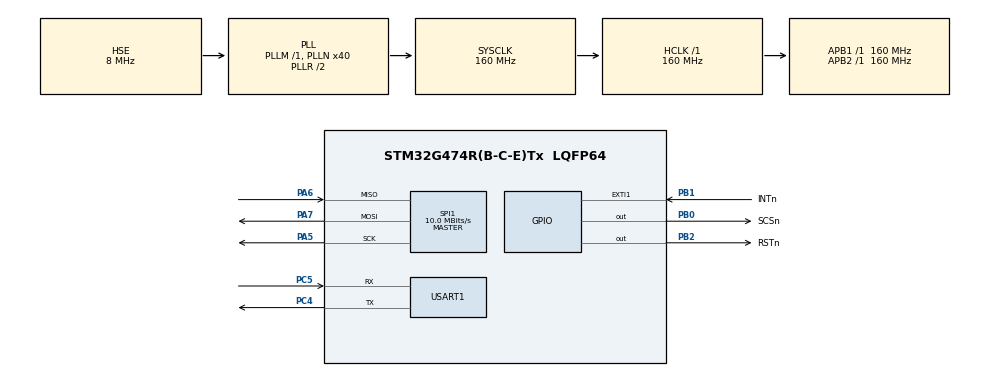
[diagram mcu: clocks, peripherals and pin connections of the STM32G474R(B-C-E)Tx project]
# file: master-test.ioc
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Mcu.Family=STM32G4
Mcu.Name=STM32G474R(B-C-E)Tx
Mcu.Package=LQFP64
NVIC.EXTI1_IRQn=true\:0\:0\:false\:false\:true\:true\:true\:true
NVIC.PriorityGroup=NVIC_PRIORITYGROUP_4
NVIC.TIM3_IRQn=true\:0\:0\:false\:false\:true\:true\:true\:true
NVIC.TIM4_IRQn=true\:0\:0\:false\:false\:true\:true\:true\:true
NVIC.USART1_IRQn=true\:0\:0\:false\:false\:true\:true\:true\:true
PA5.Mode=Full_Duplex_Master
PA5.Signal=SPI1_SCK
PA6.Mode=Full_Duplex_Master
PA6.Signal=SPI1_MISO
PA7.Mode=Full_Duplex_Master
PA7.Signal=SPI1_MOSI
PB0.GPIO_Label=SCSn
PB0.Signal=GPIO_Output
PB1.GPIO_Label=INTn
PB1.GPIO_ModeDefaultEXTI=GPIO_MODE_IT_FALLING
PB1.GPIO_PuPd=GPIO_PULLUP
PB1.Signal=GPXTI1
PB2.GPIO_Label=RSTn
PB2.GPIO_PuPd=GPIO_PULLUP
PB2.Signal=GPIO_Output
PC4.Mode=Asynchronous
PC4.Signal=USART1_TX
PC5.Mode=Asynchronous
PC5.Signal=USART1_RX
PF0-OSC_IN.Mode=HSE-External-Oscillator
PF0-OSC_IN.Signal=RCC_OSC_IN
PF1-OSC_OUT.Mode=HSE-External-Oscillator
PF1-OSC_OUT.Signal=RCC_OSC_OUT
ProjectManager.HeapSize=0x200
ProjectManager.StackSize=0x400
ProjectManager.TargetToolchain=MDK-ARM V5
RCC.ADC12Freq_Value=160000000
RCC.ADC345Freq_Value=160000000
RCC.AHBFreq_Value=160000000
RCC.APB1Freq_Value=160000000
RCC.APB1TimFreq_Value=160000000
RCC.APB2Freq_Value=160000000
RCC.APB2TimFreq_Value=160000000
RCC.CortexFreq_Value=160000000
RCC.EXTERNAL_CLOCK_VALUE=12288000
RCC.HCLKFreq_Value=160000000
RCC.HSE_VALUE=8000000
RCC.HSI48_VALUE=48000000
RCC.HSI_VALUE=16000000
RCC.LSE_VALUE=32768
RCC.PLLN=40
RCC.PLLSourceVirtual=RCC_PLLSOURCE_HSE
RCC.SYSCLKFreq_VALUE=160000000
RCC.SYSCLKSource=RCC_SYSCLKSOURCE_PLLCLK
RCC.USBFreq_Value=160000000
RCC.VCOOutputFreq_Value=320000000
SPI1.BaudRatePrescaler=SPI_BAUDRATEPRESCALER_16
SPI1.CLKPhase=SPI_PHASE_2EDGE
SPI1.CLKPolarity=SPI_POLARITY_HIGH
SPI1.CalculateBaudRate=10.0 MBits/s
SPI1.DataSize=SPI_DATASIZE_8BIT
SPI1.Direction=SPI_DIRECTION_2LINES
SPI1.Mode=SPI_MODE_MASTER
SPI1.VirtualType=VM_MASTER
TIM3.PeriodNoDither=999
TIM3.Prescaler=160-1
TIM4.PeriodNoDither=9999
TIM4.Prescaler=16000-1
USART1.VirtualMode-Asynchronous=VM_ASYNC
VP_SYS_VS_DBSignals.Mode=DisableDeadBatterySignals
VP_TIM3_VS_ClockSourceINT.Mode=Internal
VP_TIM4_VS_ClockSourceINT.Mode=Internal
board=custom

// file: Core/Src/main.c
/* USER CODE BEGIN Header */
/**
  ******************************************************************************
  * @file           : main.c
  * @brief          : Main program body
  ******************************************************************************
  * @attention
  *
  * Copyright (c) 2022 STMicroelectronics.
  * All rights reserved.
  *
  * This software is licensed under terms that can be found in the LICENSE file
  * in the root directory of this software component.
  * If no LICENSE file comes with this software, it is provided AS-IS.
  *
  ******************************************************************************
  */
/* USER CODE END Header */
#include "main.h"

/* USER CODE BEGIN Includes */
#include <stdint.h>
#include <string.h>
#include <time.h>
#include "stdio.h"
#include "wizchip_conf.h"
#include "snmp.h"
#include "httpServer.h"
/* USER CODE END Includes */

/* USER CODE BEGIN PTD */
#define fractionOfSecond TIM4->CNT
/* USER CODE END PTD */

SPI_HandleTypeDef hspi1;

TIM_HandleTypeDef htim3;
TIM_HandleTypeDef htim4;

UART_HandleTypeDef huart1;

/* USER CODE BEGIN PV */
wiz_NetInfo myipWIZNETINFO = { .mac = {0x00, 0x08, 0xDC, 0x55, 0x00, 0x2E},
															 .ip = {192, 168,22, 165},
															 .sn = {255,255,255,0},
															 .gw = {0, 0, 0, 0},
															 .dns = {8,8,8,8},
															 .dhcp = NETINFO_STATIC };
time_t built_time,timenow = 1657166407;
struct tm* timeinfo;
//SNMP
int8_t lostSignal = 0;
int8_t timeOutLostSignal = 30;
uint8_t gps1_stt = 0;
uint8_t gps2_stt = 0;
uint8_t power1_stt = 0;
uint8_t power2_stt = 0;
 uint8_t days;
 uint8_t months;
 uint8_t years;
 uint8_t hours;
 uint8_t minutes;
 uint8_t seconds;
//#define RXBUFFERSIZE 20
uint8_t aRxBuffer[RXBUFFERSIZE];
/* USER CODE END PV */

void SystemClock_Config(void);
static void MX_GPIO_Init(void);
static void MX_SPI1_Init(void);
static void MX_TIM4_Init(void);
static void MX_USART1_UART_Init(void);
static void MX_TIM3_Init(void);

int main(void)
{
  /* USER CODE BEGIN 1 */
  int32_t ret = 0;
  /* USER CODE END 1 */

  /* MCU Configuration--------------------------------------------------------*/

  /* Reset of all peripherals, Initializes the Flash interface and the Systick. */
  HAL_Init();

  /* Configure the system clock */
  SystemClock_Config();

  /* Initialize all configured peripherals */
  MX_GPIO_Init();
  MX_SPI1_Init();
  MX_TIM4_Init();
  MX_USART1_UART_Init();
  MX_TIM3_Init();
  /* USER CODE BEGIN 2 */
	printf("This code gen by STMcube; STM32G474RBT6@160MHz\r\n");
	built_time = timenow;
	stm32g474_FactoryLoad();
	w5500_lib_init();
	ntpserverdefaultconfig();
	timeinfo = localtime( &timenow );
	snmp_init();
	fractionOfSecond = 0;

	timeinfo = localtime( &timenow );
	//printf("Current local time and date: %s\r\n", asctime(timeinfo));
	//printf("HH-MM-SS :%d-%d-%d\r\n",timeinfo->tm_hour,timeinfo->tm_min,timeinfo->tm_sec);
	//printf("DD-MM-YY :%d-%d-%d\r\n",timeinfo->tm_mday,1+timeinfo->tm_mon,timeinfo->tm_year-100);

	days = timeinfo->tm_mday;
  months = 1+timeinfo->tm_mon;
  years = timeinfo->tm_year-100;
  hours = timeinfo->tm_hour;
  minutes = timeinfo->tm_min;
  seconds = timeinfo->tm_sec;

	loadwebpages();

  /* USER CODE END 2 */

  /* Infinite loop */
  /* USER CODE BEGIN WHILE */
	HAL_TIM_Base_Start_IT(&htim3);
	HAL_TIM_Base_Start(&htim4);

//  printf("IP: %d.%d.%d.%d\r\n",myMem->ip[0],myMem->ip[1],myMem->ip[2],myMem->ip[3]);
//	printf("SN: %d.%d.%d.%d\r\n",myMem->sn[0],myMem->sn[1],myMem->sn[2],myMem->sn[3]);
//	printf("GW: %d.%d.%d.%d\r\n",myMem->gw[0],myMem->gw[1],myMem->gw[2],myMem->gw[3]);
//	printf("DNS: %d.%d.%d.%d\r\n",myMem->dns[0],myMem->dns[1],myMem->dns[2],myMem->dns[3]);
//  printf("keyword: %x\r\n",myMem->keyword);
	HAL_UART_Abort(&huart1);
	if (HAL_UART_Receive_IT(&huart1, (uint8_t *)aRxBuffer, RXBUFFERSIZE) != HAL_OK)
  {
    /* Transfer error in reception process */
    Error_Handler();
  }
  while (1)
  {
    /* USER CODE END WHILE */

    /* USER CODE BEGIN 3 */
		machGiaoTiep();
  }
  /* USER CODE END 3 */
}

void SystemClock_Config(void)
{
  RCC_OscInitTypeDef RCC_OscInitStruct = {0};
  RCC_ClkInitTypeDef RCC_ClkInitStruct = {0};

  /** Configure the main internal regulator output voltage
  */
  HAL_PWREx_ControlVoltageScaling(PWR_REGULATOR_VOLTAGE_SCALE1_BOOST);

  /** Initializes the RCC Oscillators according to the specified parameters
  * in the RCC_OscInitTypeDef structure.
  */
  RCC_OscInitStruct.OscillatorType = RCC_OSCILLATORTYPE_HSE;
  RCC_OscInitStruct.HSEState = RCC_HSE_ON;
  RCC_OscInitStruct.PLL.PLLState = RCC_PLL_ON;
  RCC_OscInitStruct.PLL.PLLSource = RCC_PLLSOURCE_HSE;
  RCC_OscInitStruct.PLL.PLLM = RCC_PLLM_DIV1;
  RCC_OscInitStruct.PLL.PLLN = 40;
  RCC_OscInitStruct.PLL.PLLP = RCC_PLLP_DIV2;
  RCC_OscInitStruct.PLL.PLLQ = RCC_PLLQ_DIV2;
  RCC_OscInitStruct.PLL.PLLR = RCC_PLLR_DIV2;
  if (HAL_RCC_OscConfig(&RCC_OscInitStruct) != HAL_OK)
  {
    Error_Handler();
  }

  /** Initializes the CPU, AHB and APB buses clocks
  */
  RCC_ClkInitStruct.ClockType = RCC_CLOCKTYPE_HCLK|RCC_CLOCKTYPE_SYSCLK
                              |RCC_CLOCKTYPE_PCLK1|RCC_CLOCKTYPE_PCLK2;
  RCC_ClkInitStruct.SYSCLKSource = RCC_SYSCLKSOURCE_PLLCLK;
  RCC_ClkInitStruct.AHBCLKDivider = RCC_SYSCLK_DIV1;
  RCC_ClkInitStruct.APB1CLKDivider = RCC_HCLK_DIV1;
  RCC_ClkInitStruct.APB2CLKDivider = RCC_HCLK_DIV1;

  if (HAL_RCC_ClockConfig(&RCC_ClkInitStruct, FLASH_LATENCY_4) != HAL_OK)
  {
    Error_Handler();
  }
}

static void MX_SPI1_Init(void)
{

  /* SPI1 parameter configuration*/
  hspi1.Instance = SPI1;
  hspi1.Init.Mode = SPI_MODE_MASTER;
  hspi1.Init.Direction = SPI_DIRECTION_2LINES;
  hspi1.Init.DataSize = SPI_DATASIZE_8BIT;
  hspi1.Init.CLKPolarity = SPI_POLARITY_HIGH;
  hspi1.Init.CLKPhase = SPI_PHASE_2EDGE;
  hspi1.Init.NSS = SPI_NSS_SOFT;
  hspi1.Init.BaudRatePrescaler = SPI_BAUDRATEPRESCALER_16;
  hspi1.Init.FirstBit = SPI_FIRSTBIT_MSB;
  hspi1.Init.TIMode = SPI_TIMODE_DISABLE;
  hspi1.Init.CRCCalculation = SPI_CRCCALCULATION_DISABLE;
  hspi1.Init.CRCPolynomial = 7;
  hspi1.Init.CRCLength = SPI_CRC_LENGTH_DATASIZE;
  hspi1.Init.NSSPMode = SPI_NSS_PULSE_DISABLE;
  if (HAL_SPI_Init(&hspi1) != HAL_OK)
  {
    Error_Handler();
  }

}

static void MX_TIM3_Init(void)
{

  TIM_ClockConfigTypeDef sClockSourceConfig = {0};
  TIM_MasterConfigTypeDef sMasterConfig = {0};

  htim3.Instance = TIM3;
  htim3.Init.Prescaler = 160-1;
  htim3.Init.CounterMode = TIM_COUNTERMODE_UP;
  htim3.Init.Period = 999;
  htim3.Init.ClockDivision = TIM_CLOCKDIVISION_DIV1;
  htim3.Init.AutoReloadPreload = TIM_AUTORELOAD_PRELOAD_DISABLE;
  if (HAL_TIM_Base_Init(&htim3) != HAL_OK)
  {
    Error_Handler();
  }
  sClockSourceConfig.ClockSource = TIM_CLOCKSOURCE_INTERNAL;
  if (HAL_TIM_ConfigClockSource(&htim3, &sClockSourceConfig) != HAL_OK)
  {
    Error_Handler();
  }
  sMasterConfig.MasterOutputTrigger = TIM_TRGO_RESET;
  sMasterConfig.MasterSlaveMode = TIM_MASTERSLAVEMODE_DISABLE;
  if (HAL_TIMEx_MasterConfigSynchronization(&htim3, &sMasterConfig) != HAL_OK)
  {
    Error_Handler();
  }

}

static void MX_TIM4_Init(void)
{

  TIM_ClockConfigTypeDef sClockSourceConfig = {0};
  TIM_MasterConfigTypeDef sMasterConfig = {0};

  htim4.Instance = TIM4;
  htim4.Init.Prescaler = 16000-1;
  htim4.Init.CounterMode = TIM_COUNTERMODE_UP;
  htim4.Init.Period = 9999;
  htim4.Init.ClockDivision = TIM_CLOCKDIVISION_DIV1;
  htim4.Init.AutoReloadPreload = TIM_AUTORELOAD_PRELOAD_DISABLE;
  if (HAL_TIM_Base_Init(&htim4) != HAL_OK)
  {
    Error_Handler();
  }
  sClockSourceConfig.ClockSource = TIM_CLOCKSOURCE_INTERNAL;
  if (HAL_TIM_ConfigClockSource(&htim4, &sClockSourceConfig) != HAL_OK)
  {
    Error_Handler();
  }
  sMasterConfig.MasterOutputTrigger = TIM_TRGO_RESET;
  sMasterConfig.MasterSlaveMode = TIM_MASTERSLAVEMODE_DISABLE;
  if (HAL_TIMEx_MasterConfigSynchronization(&htim4, &sMasterConfig) != HAL_OK)
  {
    Error_Handler();
  }

}

static void MX_USART1_UART_Init(void)
{

  huart1.Instance = USART1;
  huart1.Init.BaudRate = 115200;
  huart1.Init.WordLength = UART_WORDLENGTH_8B;
  huart1.Init.StopBits = UART_STOPBITS_1;
  huart1.Init.Parity = UART_PARITY_NONE;
  huart1.Init.Mode = UART_MODE_TX_RX;
  huart1.Init.HwFlowCtl = UART_HWCONTROL_NONE;
  huart1.Init.OverSampling = UART_OVERSAMPLING_16;
  huart1.Init.OneBitSampling = UART_ONE_BIT_SAMPLE_DISABLE;
  huart1.Init.ClockPrescaler = UART_PRESCALER_DIV1;
  huart1.AdvancedInit.AdvFeatureInit = UART_ADVFEATURE_NO_INIT;
  if (HAL_UART_Init(&huart1) != HAL_OK)
  {
    Error_Handler();
  }
  if (HAL_UARTEx_SetTxFifoThreshold(&huart1, UART_TXFIFO_THRESHOLD_1_8) != HAL_OK)
  {
    Error_Handler();
  }
  if (HAL_UARTEx_SetRxFifoThreshold(&huart1, UART_RXFIFO_THRESHOLD_1_8) != HAL_OK)
  {
    Error_Handler();
  }
  if (HAL_UARTEx_DisableFifoMode(&huart1) != HAL_OK)
  {
    Error_Handler();
  }

}

static void MX_GPIO_Init(void)
{
  GPIO_InitTypeDef GPIO_InitStruct = {0};

  /* GPIO Ports Clock Enable */
  __HAL_RCC_GPIOF_CLK_ENABLE();
  __HAL_RCC_GPIOA_CLK_ENABLE();
  __HAL_RCC_GPIOC_CLK_ENABLE();
  __HAL_RCC_GPIOB_CLK_ENABLE();

  /*Configure GPIO pin Output Level */
  HAL_GPIO_WritePin(GPIOB, SCSn_Pin|RSTn_Pin, GPIO_PIN_RESET);

  /*Configure GPIO pin : SCSn_Pin */
  GPIO_InitStruct.Pin = SCSn_Pin;
  GPIO_InitStruct.Mode = GPIO_MODE_OUTPUT_PP;
  GPIO_InitStruct.Pull = GPIO_NOPULL;
  GPIO_InitStruct.Speed = GPIO_SPEED_FREQ_LOW;
  HAL_GPIO_Init(SCSn_GPIO_Port, &GPIO_InitStruct);

  /*Configure GPIO pin : INTn_Pin */
  GPIO_InitStruct.Pin = INTn_Pin;
  GPIO_InitStruct.Mode = GPIO_MODE_IT_FALLING;
  GPIO_InitStruct.Pull = GPIO_PULLUP;
  HAL_GPIO_Init(INTn_GPIO_Port, &GPIO_InitStruct);

  /*Configure GPIO pin : RSTn_Pin */
  GPIO_InitStruct.Pin = RSTn_Pin;
  GPIO_InitStruct.Mode = GPIO_MODE_OUTPUT_PP;
  GPIO_InitStruct.Pull = GPIO_PULLUP;
  GPIO_InitStruct.Speed = GPIO_SPEED_FREQ_LOW;
  HAL_GPIO_Init(RSTn_GPIO_Port, &GPIO_InitStruct);

  /* EXTI interrupt init*/
  HAL_NVIC_SetPriority(EXTI1_IRQn, 0, 0);
  HAL_NVIC_EnableIRQ(EXTI1_IRQn);

}

/* USER CODE BEGIN 4 */

void HAL_GPIO_EXTI_Callback(uint16_t GPIO_Pin)
{

	if (GPIO_Pin == INTn_Pin)
  {
		//Nhan duoc ban tin NTP, xu ly thoi gian va phan hoi
		//Receied NTP message, processing and respond
		INT_NTP();
		//printf("NTP\r\n");
  }

}
#ifdef __GNUC__
  /* With GCC/RAISONANCE, small printf (option LD Linker->Libraries->Small printf
     set to 'Yes') calls __io_putchar() */
  #define PUTCHAR_PROTOTYPE int __io_putchar(int ch)
#else
  #define PUTCHAR_PROTOTYPE int fputc(int ch, FILE *f)
#endif /* __GNUC__ */

/**
  * @brief  Retargets the C library printf function to the USART.
  * @param  None
  * @retval None
  */
PUTCHAR_PROTOTYPE
{
	/* Place your implementation of fputc here */
	/* e.g. write a character to the USART */
	HAL_UART_Transmit(&huart1, (uint8_t *)&ch, 1, 100);
	return ch;
}
/* USER CODE END 4 */

void Error_Handler(void)
{
  __disable_irq();
  while (1)
  {
  }
}
